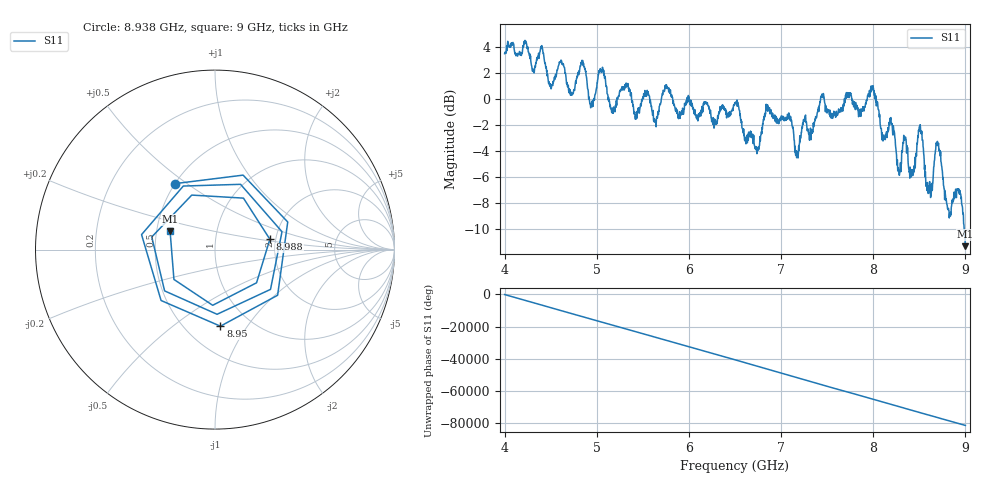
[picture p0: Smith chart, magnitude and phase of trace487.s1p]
! Created with skrf 1.8.0 (http://scikit-rf.org).
# Hz S RI R 50.0
!freq ReS11 ImS11
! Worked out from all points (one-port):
!   1601 points, 4 GHz to 9 GHz, reference 50 ohm
!   lowest |S11| = -11.4 dB at 9 GHz (marker M1), VSWR 1.74, Z = 29.4 + j6.54 ohm
!   |S11| at or under -10 dB: 8.986755 GHz to end of sweep
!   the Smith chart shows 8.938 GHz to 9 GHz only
!   S11 on the Smith chart (normalised r, x): 8.938 GHz: 0.50, +0.45; 8.95 GHz: 0.73, -0.76; 8.988 GHz: 1.86, +0.24; 9 GHz: 0.59, +0.13
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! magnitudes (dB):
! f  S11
! 4 GHz  3.5
! 4.625 GHz  2.7
! 4.722 GHz  0.5
! 4.853 GHz  2.6
! 4.938 GHz  -0.4
! 5.047 GHz  2.1
! 5.166 GHz  -0.7
! 5.25 GHz  0.6
! 5.875 GHz  -0.9
! 6.5 GHz  -0.3
! 6.734 GHz  -3.7
! 6.85 GHz  -0.6
! 7.125 GHz  -2.2
! 7.172 GHz  -4.2
! 7.444 GHz  0.4
! 7.75 GHz  0.5
! 7.994 GHz  0.8
! 8.278 GHz  -5.6
! 8.375 GHz  -4.1
! 8.431 GHz  -5.6
! 8.509 GHz  -2.0
! 8.606 GHz  -6.8
! 8.7 GHz  -3.4
! 8.819 GHz  -8.6
! 8.938 GHz  -7.3
! 8.95 GHz  -7.4
! 8.988 GHz  -10.1
! 9 GHz  -11.4
